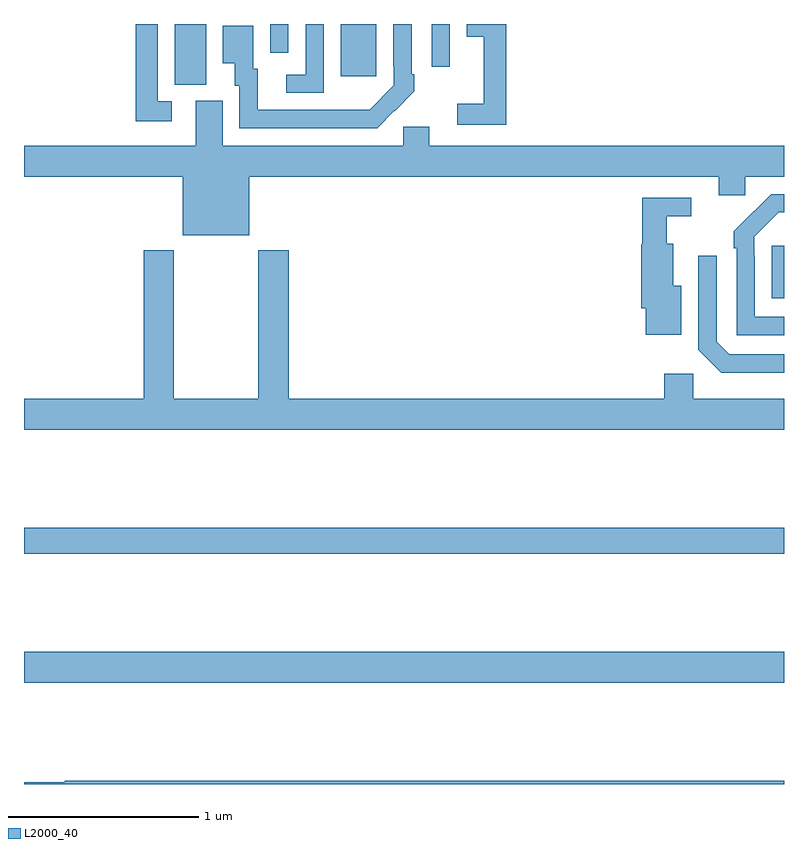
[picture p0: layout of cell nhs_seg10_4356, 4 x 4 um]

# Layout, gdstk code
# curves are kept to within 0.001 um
import gdstk
lib = gdstk.Library(unit=1e-6, precision=1e-09)
def R(c, l, rs):  # rectangles x0, y0, x1, y1
    for r in rs: c.add(gdstk.rectangle(r[:2], r[2:], *l))
def P(c, l, *ps):  # polygons
    for p in ps: c.add(gdstk.Polygon(p, *l))
L2000_40 = (2000, 40)

nhs_seg10_4356 = lib.new_cell('nhs_seg10_4356')
R(nhs_seg10_4356, L2000_40, [(357,1251.032,361,1251.196), (357,1251.712,361,1251.848), (360.935,1253.057,361,1253.332), (357.794,1254.181,357.958,1254.5), (358.667,1254.225,358.855,1254.499), (359.145,1254.276,359.241,1254.5), (358.296,1254.348,358.392,1254.5)])
P(nhs_seg10_4356, L2000_40, [(358.578,1254.5),(358.482,1254.5),(358.482,1254.234),(358.38,1254.234),(358.38,1254.138),(358.578,1254.138)],
  [(358.949,1254.043),(358.95,1254.042),(359.055,1254.147),(359.055,1254.235),(359.04,1254.235),(359.04,1254.5),(358.944,1254.5),(358.944,1254.277),(358.947,1254.277),(358.947,1254.177),(358.819,1254.049),(358.231,1254.048),(358.231,1254.264),(358.207,1254.264),(358.207,1254.49),(358.046,1254.49),(358.046,1254.293),(358.109,1254.293),(358.109,1254.174),(358.134,1254.174),(358.134,1253.952),(358.858,1253.952)],
  [(357.778,1254.093),(357.705,1254.093),(357.705,1254.5),(357.589,1254.5),(357.589,1253.988),(357.778,1253.988)],
  [(359.537,1254.5),(359.33,1254.5),(359.33,1254.434),(359.42,1254.434),(359.42,1254.079),(359.28,1254.079),(359.28,1253.97),(359.537,1253.97)],
  [(358.186,1253.696),(360.656,1253.696),(360.656,1253.598),(360.795,1253.598),(360.795,1253.696),(361,1253.696),(361,1253.86),(359.134,1253.86),(359.134,1253.958),(358.995,1253.958),(358.995,1253.86),(358.045,1253.86),(358.045,1254.096),(357.905,1254.096),(357.905,1253.86),(357,1253.86),(357,1253.696),(357.836,1253.696),(357.836,1253.387),(358.186,1253.387)],
  [(361,1252.959),(360.846,1252.959),(360.846,1253.279),(360.843,1253.279),(360.843,1253.379),(360.972,1253.508),(361,1253.508),(361,1253.604),(360.932,1253.604),(360.735,1253.409),(360.735,1253.321),(360.75,1253.321),(360.75,1252.863),(361,1252.863)],
  [(360.46,1253.122),(360.418,1253.122),(360.418,1253.344),(360.382,1253.344),(360.382,1253.489),(360.511,1253.489),(360.511,1253.586),(360.253,1253.586),(360.253,1253.34),(360.248,1253.34),(360.248,1253.004),(360.272,1253.004),(360.272,1252.865),(360.46,1252.865)],
  [(361,1252.528),(360.522,1252.528),(360.522,1252.66),(360.371,1252.66),(360.371,1252.528),(358.394,1252.528),(358.394,1253.308),(358.234,1253.308),(358.234,1252.528),(357.789,1252.528),(357.789,1253.308),(357.629,1253.308),(357.629,1252.528),(357,1252.528),(357,1252.364),(361,1252.364)],
  [(361,1252.761),(360.711,1252.761),(360.645,1252.827),(360.645,1253.281),(360.549,1253.281),(360.549,1252.785),(360.67,1252.664),(361,1252.664)],
  [(361,1250.516),(357.215,1250.516),(357.215,1250.509),(357,1250.509),(357,1250.5),(361,1250.5)])

lib.write_gds('nhs_seg10_4356.gds')
